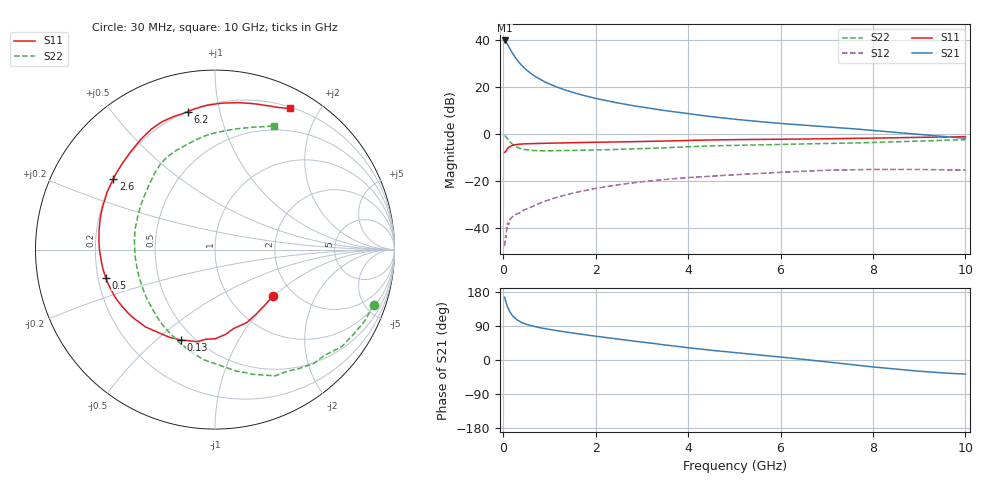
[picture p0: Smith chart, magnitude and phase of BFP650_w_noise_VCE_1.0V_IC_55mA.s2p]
! Infineon Technologies  Discrete & RF Semiconductors
! BFP650
! VCE =  1.0 V,  IC =  55 mA
! Common Emitter S-Parameters:  Jan 2016
# GHz  S  MA  R  50
!  f  S11  S21  S12  S22
! GHz  MAG  ANG  MAG  ANG  MAG  ANG  MAG  ANG
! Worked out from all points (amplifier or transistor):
!   229 points, 30 MHz to 10 GHz, reference 50 ohm
!   highest |S21| = 39.8 dB at 30 MHz (marker M1)
!   |S21| within 3 dB of that: start of sweep to 130 MHz
!   unconditionally stable (mu >= 1): 1.748 GHz to end of sweep
!   at 280 MHz: K = 0.51, MSG = 33.0 dB, |S12| = -34.0 dB
!   at 1.78 GHz: K = 1.00, MAG = 19.8 dB, |S12| = -23.9 dB
!   at 10 GHz: K = 1.04, MAG = 5.6 dB, |S12| = -15.2 dB
!   lowest NFmin = 1.01 dB at 450 MHz
!   S11 on the Smith chart (normalised r, x): 30 MHz: 1.58, -0.98; 130 MHz: 0.43, -0.61; 500 MHz: 0.23, -0.12; 2.6 GHz: 0.20, +0.30; 6.2 GHz: 0.20, +0.80; 10 GHz: 0.22, +1.64
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0.03  0.4138 -38.5  98.21 165.8  0.0042 45.7  0.9367 -19.3
0.04  0.4163 -48.6  96.95 161.0  0.0055 77.9  0.9231 -25.7
0.05  0.4275 -58.1  93.72 156.4  0.0068 90.4  0.9058 -31.1
0.06  0.4433 -66.4  91.97 152.6  0.0064 84.4  0.8897 -37.3
0.08  0.476 -82.9  85.64 144.8  0.0098 63.9  0.8392 -49.2
0.1  0.502 -95.9  79.16 138.2  0.0126 56.8  0.7887 -59.2
0.13  0.5385 -110.5  69.54 130.0  0.0139 61.0  0.7255 -73.2
0.15  0.5513 -117.7  64.12 125.7  0.0158 55.2  0.687 -80.1
0.2  0.5793 -131.9  52.76 116.8  0.0178 50.0  0.6159 -96.2
0.26  0.5988 -143.2  42.92 109.6  0.0194 51.1  0.5573 -110.4
0.36  0.617 -155.2  32.02 101.5  0.0214 48.0  0.5033 -127.7
0.5  0.6288 -165.6  23.38 94.2  0.0257 50.2  0.4689 -143.9
0.7  0.6374 -174.8  16.71 87.6  0.0313 53.4  0.4504 -158.7
0.9  0.6449 178.7  12.98 82.9  0.0377 53.6  0.4457 -168.8
1.7  0.6677 160.7  6.838 67.9  0.0622 51.5  0.4577 167.2
2.6  0.6909 145.1  4.392 53.3  0.0877 43.1  0.4818 149.1
3.4  0.7143 132.7  3.297 41.3  0.1074 34.3  0.5124 136.1
5.1  0.7717 111.5  2.043 18.5  0.1396 17.3  0.5845 115.5
6.2  0.7836 101.2  1.642 5.4  0.1591 6.7  0.6118 102.8
6.8  0.7987 95.5  1.492 -2.2  0.1687 0.2  0.6292 97.0
8.4  0.8386 76.1  1.117 -23.0  0.1794 -17.5  0.6867 79.0
10  0.8905 62.0  0.821 -37.2  0.1733 -29.6  0.7649 64.6
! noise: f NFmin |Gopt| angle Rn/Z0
0.45  1.01  0.41  -172  0.07
0.9  1.03  0.43  -166  0.06
1.9  1.18  0.47  -153  0.07
2.4  1.26  0.45  -143  0.09
3.5  1.48  0.47  -120  0.14
